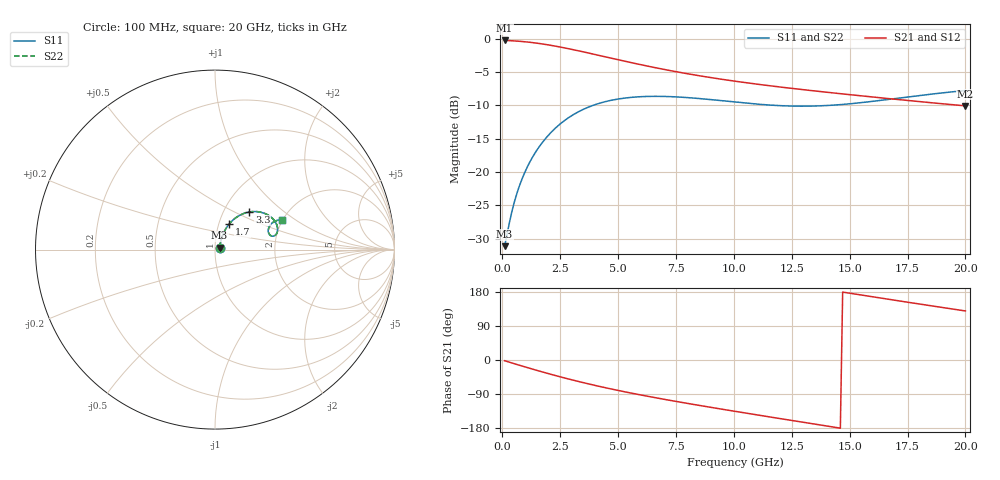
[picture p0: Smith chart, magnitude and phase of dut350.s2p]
! Touchstone file exported from HFSS 2024.1.0
!  File:  C:/UserFiles/LocalFiles/RDL_TSV_Batchsim/temp_RDL_TSV_350_1779637746.aedt
!  Generated:  12:03:06 AM May 25, 2026
!  Design:  RDL_TSV
!  Project:  temp_RDL_TSV_350_1779637746
!  Setup:  Setup1
!  Solution:  Sweep
! Variables:
!  dtsv = 6.8um
!  hbump = 3um
!  htsv = 67.07um
!  ldown = 380.74um
!  lrdl = 584.65um
!  p = 40
!  p1 = 49.25um
!  rhole = 10um
!  subl = 3480.82um
!  t = 450um
!  tdown = 3.36um
!  trdl = 3.22um
!  viad = 10um
!  wdown = 13.29um
!  wrdl = 15.97um
!  xbump = 18um
# GHz S MA R 50.000000
! Terminal data exported
! Port[1] = TM1_1_T1
! Port[2] = TM1_4_T1
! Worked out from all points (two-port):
!   200 points, 100 MHz to 20 GHz, reference 50 ohm
!   highest |S21| = -0.23 dB at 100 MHz (marker M1); lowest = -10.1 dB at 20 GHz (marker M2)
!   |S21| within 3 dB of the highest: start of sweep to 5.134 GHz
!   lowest |S11| = -31.1 dB at 100 MHz (marker M3), VSWR 1.06, Z = 52.6 + j1.06 ohm
!   |S11| at or under -10 dB: start of sweep to 3.907 GHz; 11.85 GHz to 14.06 GHz (2.211 GHz wide, 17.1 % of centre)
!   |S22| runs from -31.1 to -7.8 dB; largest |S21 - S12| = 2.9e-14
!   S11 on the Smith chart (normalised r, x): 100 MHz: 1.05, +0.02; 1.7 GHz: 1.12, +0.33; 3.3 GHz: 1.32, +0.60; 20 GHz: 1.99, +0.79
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0.1  0.0277 21.4  0.9742 -1.9  0.9742 -1.9  0.0277 21.4
! Gamma 0 0 0 0
! Port Impedance 50 0 50 0
0.3  0.04097 46.0  0.9715 -5.7  0.9715 -5.7  0.04096 46.0
0.5  0.05769 55.7  0.9672 -9.5  0.9672 -9.5  0.05769 55.7
0.8  0.084 61.2  0.9587 -15.0  0.9587 -15.0  0.08399 61.2
1.2  0.1198 62.7  0.9435 -22.2  0.9435 -22.2  0.1198 62.7
1.7  0.164 60.9  0.9188 -31.0  0.9188 -31.0  0.1641 61.0
2.1  0.198 58.2  0.8953 -37.8  0.8953 -37.8  0.198 58.2
2.5  0.2298 54.8  0.8694 -44.4  0.8694 -44.4  0.2298 54.9
3.3  0.2843 47.5  0.8138 -56.9  0.8138 -56.9  0.2844 47.6
3.5  0.2957 45.6  0.7996 -59.8  0.7996 -59.8  0.2959 45.7
4.2  0.3287 39.3  0.7507 -69.8  0.7507 -69.8  0.329 39.4
5.1  0.3557 31.9  0.6918 -81.6  0.6918 -81.6  0.3562 32.0
5.9  0.3675 26.4  0.6449 -91.3  0.6449 -91.3  0.3682 26.5
6.8  0.3703 21.2  0.5988 -101.6  0.5988 -101.6  0.3711 21.4
8.4  0.3579 15.2  0.5327 -118.7  0.5327 -118.7  0.359 15.3
10.1  0.3349 13.0  0.48 -136.0  0.48 -136.0  0.3363 13.0
11.7  0.3173 14.5  0.4415 -151.7  0.4415 -151.7  0.3188 14.5
13.4  0.3129 18.6  0.4082 -168.3  0.4082 -168.3  0.3144 18.6
15  0.3254 22.6  0.3813 176.3  0.3813 176.3  0.3266 22.5
16.7  0.3516 25.1  0.3559 160.1  0.3559 160.1  0.3525 24.9
18.3  0.3807 25.3  0.3344 145.0  0.3344 145.0  0.3814 25.1
20  0.4093 23.8  0.3141 129.4  0.3141 129.4  0.4097 23.6
